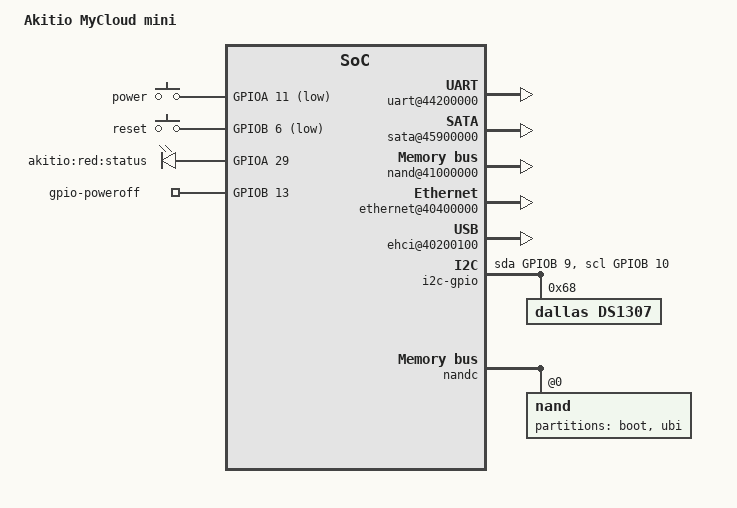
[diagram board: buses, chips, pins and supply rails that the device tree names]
/*
 * Copyright (C) 2016 Daniel Golle <daniel@makrotopia.org>
 *
 * This program is free software; you can redistribute it and/or modify
 * it under the terms of the GNU General Public License version 2 as
 * published by the Free Software Foundation.
 */

/dts-v1/;
#include "ox820.dtsi"

#include <dt-bindings/input/input.h>

/ {
	model = "Akitio MyCloud mini";

	chosen {
		bootargs = "console=ttyS0,115200n8 earlyprintk=serial";
	};

	pcie-controller@47C00000 {
		status = "disabled";
	};

	uart@44200000 {
		status = "okay";
	};

	sata@45900000 {
		status = "okay";
		nr-ports = <2>;
	};

	nand@41000000 {
		status = "okay";

	};

	ethernet@40400000 {
		status = "okay";
	};

	ehci@40200100 {
		status = "okay";
	};

	i2c-gpio {
		compatible = "i2c-gpio";
		gpios = <&GPIOB 9 0 &GPIOB 10 0>;
		pinctrl-names = "default";
		pinctrl-0 = <&pinctrl_i2c>;
		i2c-gpio,delay-us = <10>;
		#address-cells = <1>;
		#size-cells = <0>;
		ds1307: rtc@68 {
			compatible = "dallas,ds1307";
			reg = <0x68>;
		};
	};

	gpio-keys-polled {
		compatible = "gpio-keys-polled";
		pinctrl-names = "default";
		pinctrl-0 = <&pinctrl_buttons>;
		#address-cells = <1>;
		#size-cells = <0>;
		poll-interval = <100>;
		power {
			label = "power";
			gpios = <&GPIOA 11 1>;
			linux,code = <KEY_POWER>;
		};
		reset {
			label = "reset";
			gpios = <&GPIOB 6 1>;
			linux,code = <KEY_RESTART>;
		};
	};

	gpio-leds {
		compatible = "gpio-leds";
		pinctrl-names = "default";
		pinctrl-0 = <&pinctrl_leds>;
		status {
			label = "akitio:red:status";
			gpios = <&GPIOA 29 0>;
		};
	};

	gpio-poweroff {
		compatible = "gpio-poweroff";
		pinctrl-names = "default";
		pinctrl-0 = <&pinctrl_poweroff>;
		gpios = <&GPIOB 13 2>;
	};

	pinctrl {
		i2c {
			pinctrl_i2c: i2c-0 {
				plxtech,pins =
					<1  9 0 4	/* MF_B9 GPIO debounce */
					 1 10 0 4>;	/* MF_B10 GPIO debounce */
			};
		};
		buttons {
			pinctrl_buttons: buttons-0 {
				plxtech,pins =
					<0 11 0 0	/* MF_A11 GPIO */
					 1  6 0 0>;	/* MF_B6 GPIO */
			};
		};
		leds {
			pinctrl_leds: leds-0 {
				plxtech,pins =
					<0 29 0 0>;	/* MF_A29 GPIO */
			};
		};
		poweroff {
			pinctrl_poweroff: poweroff-0 {
				plxtech,pins =
					<1 13 0 0>;	/* MF_B13 GPIO */
			};
		};
	};
};

&nandc {
	status = "okay";

	nand@0 {
		reg = <0>;
		#address-cells = <1>;
		#size-cells = <1>;
		nand-ecc-mode = "soft";
		nand-ecc-algo = "hamming";

		partition@0 {
			label = "boot";
			reg = <0x00000000 0x026c0000>;
		};

		partition@26c0000 {
			label = "ubi";
			reg = <0x026c0000 0x0d940000>;
		};
	};
};
